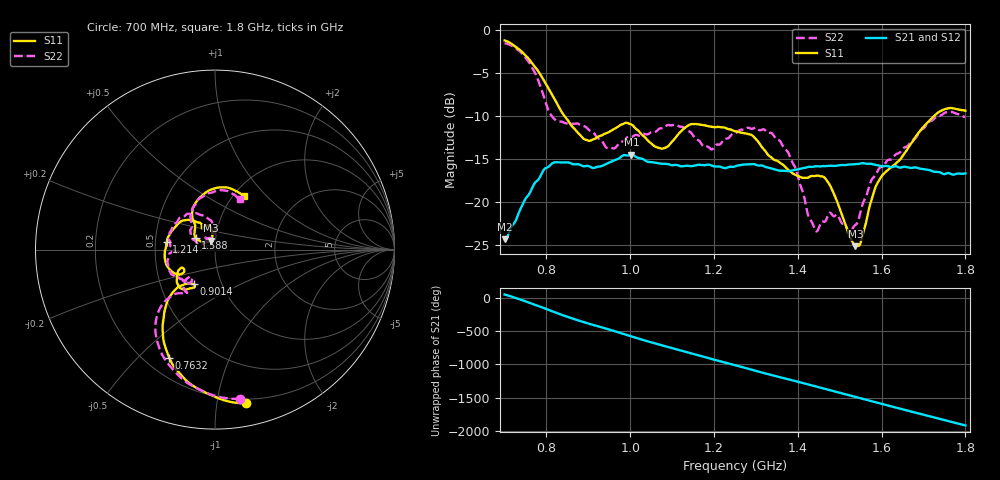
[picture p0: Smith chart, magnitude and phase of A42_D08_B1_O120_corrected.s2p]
! Created with skrf 1.9.0 (http://scikit-rf.org).
# Hz S RI R 50.0
!freq ReS11 ImS11 ReS21 ImS21 ReS12 ImS12 ReS22 ImS22
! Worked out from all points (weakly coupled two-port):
!   1601 points, 700 MHz to 1.8 GHz, reference 50 ohm
!   highest |S21| = -14.50 dB at 1.002 GHz (marker M1); lowest = -24.4 dB at 700.7 MHz (marker M2)
!   lowest |S11| = -25.2 dB at 1.537 GHz (marker M3), VSWR 1.12, Z = 47.4 + j4.69 ohm
!   |S11| at or under -10 dB: 843 MHz to 1.725 GHz (882 MHz wide, 68.7 % of centre)
!   |S22| runs from -23.7 to -1.5 dB; largest |S21 - S12| = 0.0036
!   S11 on the Smith chart (normalised r, x): 700 MHz: 0.17, -1.21; 763.2 MHz: 0.30, -0.62; 901.4 MHz: 0.74, -0.30; 1.214 GHz: 0.57, +0.05; 1.588 GHz: 0.80, +0.11; 1.8 GHz: 1.12, +0.76
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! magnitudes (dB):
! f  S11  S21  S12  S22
! 700 MHz  -1.2  -24.4  -24.2  -1.5
! 700.7 MHz  -1.2  -24.4  -24.1  -1.5
! 763.2 MHz  -3.7  -18.7  -18.7  -4.1
! 814.8 MHz  -7.6  -15.5  -15.5  -10.1
! 883.6 MHz  -12.4  -15.8  -15.7  -11.1
! 901.4 MHz  -12.9  -15.9  -15.8  -11.6
! 947.5 MHz  -11.9  -15.5  -15.5  -13.7
! 1.002 GHz  -11.0  -14.5  -14.6  -12.5
! 1.067 GHz  -13.7  -15.5  -15.5  -11.5
! 1.143 GHz  -11.0  -15.9  -15.8  -11.9
! 1.214 GHz  -11.3  -15.9  -15.9  -13.3
! 1.25 GHz  -11.8  -15.9  -15.8  -12.0
! 1.357 GHz  -15.5  -16.4  -16.3  -12.9
! 1.394 GHz  -16.9  -16.3  -16.3  -16.0
! 1.434 GHz  -17.0  -15.9  -15.9  -22.4
! 1.473 GHz  -17.8  -15.8  -15.8  -21.4
! 1.537 GHz  -25.2  -15.6  -15.6  -22.7
! 1.55 GHz  -24.7  -15.5  -15.6  -21.0
! 1.588 GHz  -18.1  -15.7  -15.7  -16.7
! 1.617 GHz  -16.2  -15.9  -15.9  -15.1
! 1.733 GHz  -9.7  -16.5  -16.5  -10.0
! 1.8 GHz  -9.4  -16.7  -16.7  -10.1
